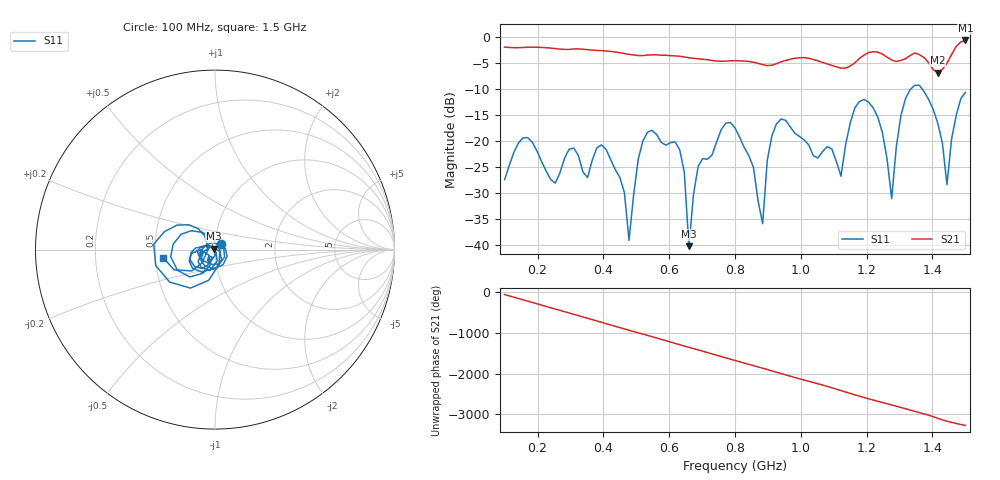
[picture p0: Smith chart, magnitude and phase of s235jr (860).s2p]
! NanoVNA-App
! Date: 2025-09-25 15:10:52
! Start: 100MHz Stop: 1,5GHz Points: 101
! S-Parameter data: F S11 S21 S12 S22
# Hz S RI R 50
!  Frequency  S11_Real  S11_Imag  S21_Real  S21_Imag  S12_Real  S12_Imag  S22_Real  S22_Imag
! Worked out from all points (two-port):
!   101 points, 100 MHz to 1.5 GHz, reference 50 ohm
!   highest |S21| = -0.70 dB at 1.5 GHz (marker M1); lowest = -6.9 dB at 1.416 GHz (marker M2)
!   |S21| within 3 dB of the highest: start of sweep to 624.2 MHz; 1.188 GHz to 1.257 GHz (68.78 MHz wide, 5.63 % of centre) (the widest 2 of 4)
!   lowest |S11| = -40.3 dB at 660 MHz (marker M3), VSWR 1.02, Z = 49.2 + j0.531 ohm
!   |S11| at or under -10 dB: start of sweep to 1.335 GHz; 1.368 GHz to end of sweep
!   S12 and S22 are empty: the file has one direction only
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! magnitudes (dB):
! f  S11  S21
! 100 MHz  -27.5  -2.0
! 156 MHz  -19.4  -2.1
! 338 MHz  -26.0  -2.4
! 408 MHz  -21.6  -2.7
! 478 MHz  -39.1  -3.4
! 520 MHz  -20.0  -3.6
! 576 MHz  -20.3  -3.5
! 632 MHz  -21.7  -3.7
! 660 MHz  -40.3  -4.0
! 688 MHz  -24.9  -4.2
! 800 MHz  -17.5  -4.6
! 884 MHz  -35.9  -5.3
! 926 MHz  -16.7  -5.2
! 1.038 GHz  -22.9  -4.4
! 1.122 GHz  -26.8  -6.0
! 1.192 GHz  -12.0  -3.5
! 1.248 GHz  -18.5  -3.3
! 1.276 GHz  -31.1  -4.5
! 1.332 GHz  -10.1  -3.6
! 1.416 GHz  -16.6  -6.9
! 1.444 GHz  -28.4  -5.1
! 1.5 GHz  -10.7  -0.7
